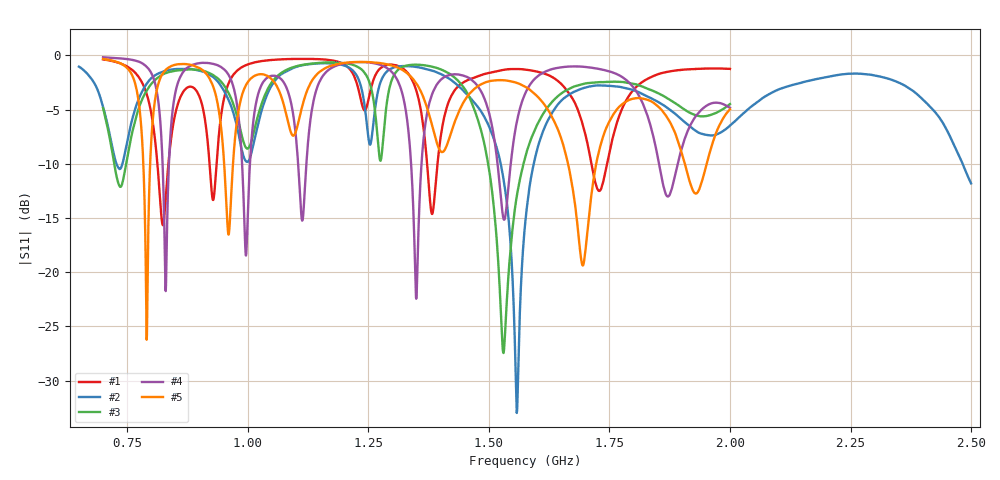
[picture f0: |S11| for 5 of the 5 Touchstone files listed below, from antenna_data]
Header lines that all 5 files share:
!Correction: S11(C  1-Port  )
!S1P File: Measurement: S11:
# Hz S  dB  R 50
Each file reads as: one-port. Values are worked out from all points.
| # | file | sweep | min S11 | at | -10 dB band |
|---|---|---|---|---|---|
| 1 | aniou-2p3_5n6-3p_3n.s1p | 700 MHz to 2 GHz | -15.7 dB | 824 MHz | 32.35 MHz wide |
| 2 | aniou-antenna-large-raw-9pF-extended.s1p | 650 MHz to 2.5 GHz | -33.0 dB | 1.558 GHz | 68.65 MHz wide |
| 3 | aniou-antenna-large-raw-9pF.s1p | 700 MHz to 2 GHz | -27.5 dB | 1.53 GHz | 73.45 MHz wide |
| 4 | aniou-green-raw-9pf-v2.s1p | 700 MHz to 2 GHz | -22.5 dB | 1.349 GHz | 38.71 MHz wide |
| 5 | aniou-green-raw-9pf.s1p | 700 MHz to 2 GHz | -26.2 dB | 790.5 MHz | 58.49 MHz wide |
